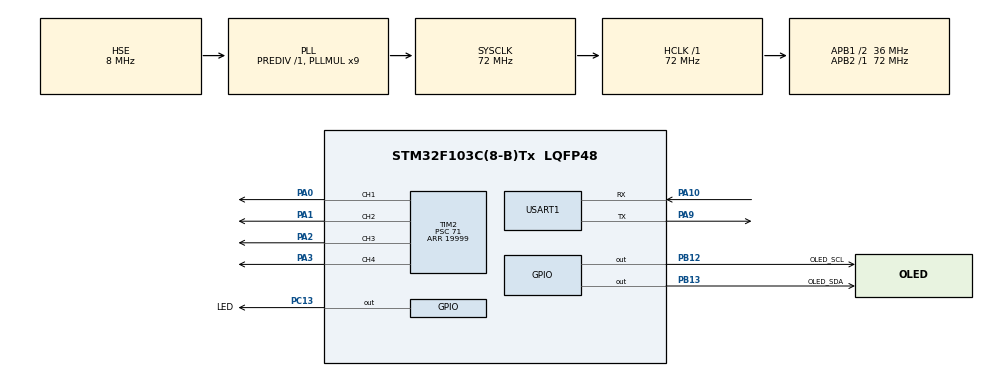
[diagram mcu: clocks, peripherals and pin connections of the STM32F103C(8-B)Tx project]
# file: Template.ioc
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Mcu.Family=STM32F1
Mcu.Name=STM32F103C(8-B)Tx
Mcu.Package=LQFP48
NVIC.PriorityGroup=NVIC_PRIORITYGROUP_4
NVIC.USART1_IRQn=true\:0\:0\:false\:false\:true\:true\:true\:true
PA0-WKUP.Signal=S_TIM2_CH1_ETR
PA1.Signal=S_TIM2_CH2
PA10.Mode=Asynchronous
PA10.Signal=USART1_RX
PA13.Mode=Serial_Wire
PA13.Signal=SYS_JTMS-SWDIO
PA14.Mode=Serial_Wire
PA14.Signal=SYS_JTCK-SWCLK
PA2.Signal=S_TIM2_CH3
PA3.Signal=S_TIM2_CH4
PA9.Mode=Asynchronous
PA9.Signal=USART1_TX
PB12.GPIO_Label=OLED_SCL
PB12.Signal=GPIO_Output
PB13.GPIO_Label=OLED_SDA
PB13.Signal=GPIO_Output
PC13-TAMPER-RTC.GPIO_Label=LED
PC13-TAMPER-RTC.Signal=GPIO_Output
PD0-OSC_IN.Mode=HSE-External-Oscillator
PD0-OSC_IN.Signal=RCC_OSC_IN
PD1-OSC_OUT.Mode=HSE-External-Oscillator
PD1-OSC_OUT.Signal=RCC_OSC_OUT
ProjectManager.HeapSize=0x200
ProjectManager.StackSize=0x400
ProjectManager.TargetToolchain=MDK-ARM V5.32
RCC.AHBFreq_Value=72000000
RCC.APB1CLKDivider=RCC_HCLK_DIV2
RCC.APB1Freq_Value=36000000
RCC.APB1TimFreq_Value=72000000
RCC.APB2Freq_Value=72000000
RCC.APB2TimFreq_Value=72000000
RCC.HCLKFreq_Value=72000000
RCC.PLLMUL=RCC_PLL_MUL9
RCC.PLLSourceVirtual=RCC_PLLSOURCE_HSE
RCC.SYSCLKFreq_VALUE=72000000
RCC.SYSCLKSource=RCC_SYSCLKSOURCE_PLLCLK
RCC.USBFreq_Value=72000000
SH.S_TIM2_CH1_ETR.0=TIM2_CH1,PWM Generation1 CH1
SH.S_TIM2_CH2.0=TIM2_CH2,PWM Generation2 CH2
SH.S_TIM2_CH3.0=TIM2_CH3,PWM Generation3 CH3
SH.S_TIM2_CH4.0=TIM2_CH4,PWM Generation4 CH4
TIM2.AutoReloadPreload=TIM_AUTORELOAD_PRELOAD_ENABLE
TIM2.Channel-PWM\ Generation1\ CH1=TIM_CHANNEL_1
TIM2.Channel-PWM\ Generation2\ CH2=TIM_CHANNEL_2
TIM2.Channel-PWM\ Generation3\ CH3=TIM_CHANNEL_3
TIM2.Channel-PWM\ Generation4\ CH4=TIM_CHANNEL_4
TIM2.Period=19999
TIM2.Prescaler=71
USART1.VirtualMode=VM_ASYNC
board=custom

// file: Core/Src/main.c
/* USER CODE BEGIN Header */
/**
  ******************************************************************************
  * @file           : main.c
  * @brief          : Main program body
  ******************************************************************************
  * @attention
  *
  * Copyright (c) 2025 STMicroelectronics.
  * All rights reserved.
  *
  * This software is licensed under terms that can be found in the LICENSE file
  * in the root directory of this software component.
  * If no LICENSE file comes with this software, it is provided AS-IS.
  *
  ******************************************************************************
  */
/* USER CODE END Header */
#include "main.h"
#include "tim.h"
#include "usart.h"
#include "gpio.h"

/* USER CODE BEGIN Includes */
#include "servo.h"
#include "led.h"
/* USER CODE END Includes */

/* USER CODE BEGIN PV */
uint8_t rx_data;
volatile uint8_t uart_flag = 0;
/* USER CODE END PV */

void SystemClock_Config(void);

int main(void)
{

  /* MCU Configuration--------------------------------------------------------*/

  /* Reset of all peripherals, Initializes the Flash interface and the Systick. */
  HAL_Init();

  /* Configure the system clock */
  SystemClock_Config();

  /* Initialize all configured peripherals */
  MX_GPIO_Init();
  MX_TIM2_Init();
  MX_USART1_UART_Init();
  /* USER CODE BEGIN 2 */
	OLED_Init();
  LED_Init();
  Servo_Init();
  /* 默认关闭所有舵机（0°） */
  Servo_SetAngle(TIM_CHANNEL_1, 0);
  Servo_SetAngle(TIM_CHANNEL_2, 0);
  Servo_SetAngle(TIM_CHANNEL_3, 0);
  Servo_SetAngle(TIM_CHANNEL_4, 0);
  HAL_UART_Receive_IT(&huart1, &rx_data, 1);
  /* USER CODE END 2 */

  /* Infinite loop */
  /* USER CODE BEGIN WHILE */
  while (1)
  {
    OLED_ShowString(2, 1, "Flag:");
    OLED_ShowNum(2, 6, uart_flag, 1);

    LED_Toggle();

    /* 根据 uart_flag 控制舵机：
       1 -> 打开舵机1（90°），其余关闭
       2 -> 打开舵机2（90°），其余关闭
       3 -> 打开舵机3（90°），其余关闭
       4 -> 打开舵机4（90°），其余关闭
       5 -> 关闭所有舵机（0°）
       其它 -> 保持关闭（0°）
    */
    switch(uart_flag)
    {
      case 1:
        OLED_ShowString(1, 1, "Recyclable");
        Servo_SetAngle(TIM_CHANNEL_1, 90);
        Servo_SetAngle(TIM_CHANNEL_2, 0);
        Servo_SetAngle(TIM_CHANNEL_3, 0);
        Servo_SetAngle(TIM_CHANNEL_4, 0);
        break;
      case 2:
        OLED_ShowString(1, 1, "Hazardous ");
        Servo_SetAngle(TIM_CHANNEL_1, 0);
        Servo_SetAngle(TIM_CHANNEL_2, 90);
        Servo_SetAngle(TIM_CHANNEL_3, 0);
        Servo_SetAngle(TIM_CHANNEL_4, 0);
        break;
      case 3:
        OLED_ShowString(1, 1, "Kitchen   ");
        Servo_SetAngle(TIM_CHANNEL_1, 0);
        Servo_SetAngle(TIM_CHANNEL_2, 0);
        Servo_SetAngle(TIM_CHANNEL_3, 90);
        Servo_SetAngle(TIM_CHANNEL_4, 0);
        break;
      case 4:
        OLED_ShowString(1, 1, "Other     ");
        Servo_SetAngle(TIM_CHANNEL_1, 0);
        Servo_SetAngle(TIM_CHANNEL_2, 0);
        Servo_SetAngle(TIM_CHANNEL_3, 0);
        Servo_SetAngle(TIM_CHANNEL_4, 90);
        break;
      case 5:
        OLED_ShowString(1, 1, "Close     ");
        Servo_SetAngle(TIM_CHANNEL_1, 0);
        Servo_SetAngle(TIM_CHANNEL_2, 0);
        Servo_SetAngle(TIM_CHANNEL_3, 0);
        Servo_SetAngle(TIM_CHANNEL_4, 0);
        break;
      default:
        OLED_ShowString(1, 1, "Waiting   ");
        Servo_SetAngle(TIM_CHANNEL_1, 0);
        Servo_SetAngle(TIM_CHANNEL_2, 0);
        Servo_SetAngle(TIM_CHANNEL_3, 0);
        Servo_SetAngle(TIM_CHANNEL_4, 0);
        break;
    }

    HAL_Delay(100);

    /* USER CODE END WHILE */

  }
}

void SystemClock_Config(void)
{
  RCC_OscInitTypeDef RCC_OscInitStruct = {0};
  RCC_ClkInitTypeDef RCC_ClkInitStruct = {0};

  /** Initializes the RCC Oscillators according to the specified parameters
  * in the RCC_OscInitTypeDef structure.
  */
  RCC_OscInitStruct.OscillatorType = RCC_OSCILLATORTYPE_HSE;
  RCC_OscInitStruct.HSEState = RCC_HSE_ON;
  RCC_OscInitStruct.HSEPredivValue = RCC_HSE_PREDIV_DIV1;
  RCC_OscInitStruct.HSIState = RCC_HSI_ON;
  RCC_OscInitStruct.PLL.PLLState = RCC_PLL_ON;
  RCC_OscInitStruct.PLL.PLLSource = RCC_PLLSOURCE_HSE;
  RCC_OscInitStruct.PLL.PLLMUL = RCC_PLL_MUL9;
  if (HAL_RCC_OscConfig(&RCC_OscInitStruct) != HAL_OK)
  {
    Error_Handler();
  }

  /** Initializes the CPU, AHB and APB buses clocks
  */
  RCC_ClkInitStruct.ClockType = RCC_CLOCKTYPE_HCLK|RCC_CLOCKTYPE_SYSCLK
                              |RCC_CLOCKTYPE_PCLK1|RCC_CLOCKTYPE_PCLK2;
  RCC_ClkInitStruct.SYSCLKSource = RCC_SYSCLKSOURCE_PLLCLK;
  RCC_ClkInitStruct.AHBCLKDivider = RCC_SYSCLK_DIV1;
  RCC_ClkInitStruct.APB1CLKDivider = RCC_HCLK_DIV2;
  RCC_ClkInitStruct.APB2CLKDivider = RCC_HCLK_DIV1;

  if (HAL_RCC_ClockConfig(&RCC_ClkInitStruct, FLASH_LATENCY_2) != HAL_OK)
  {
    Error_Handler();
  }
}

/* USER CODE BEGIN 4 */
void HAL_UART_RxCpltCallback(UART_HandleTypeDef *huart)
{
  if(huart->Instance == USART1)
  {
    if(rx_data >= '1' && rx_data <= '5')
    {
      uart_flag = rx_data - '0';
    }
    HAL_UART_Receive_IT(&huart1, &rx_data, 1);
  }
}

void HAL_UART_ErrorCallback(UART_HandleTypeDef *huart)
{
  if(huart->Instance == USART1)
  {
    // If an error occurs (noise, overrun), restart reception
    // Read DR to clear flags if necessary (HAL usually handles this but restarting is key)
    HAL_UART_Receive_IT(&huart1, &rx_data, 1);
  }
}
/* USER CODE END 4 */

void Error_Handler(void)
{
  __disable_irq();
  while (1)
  {
  }
}
